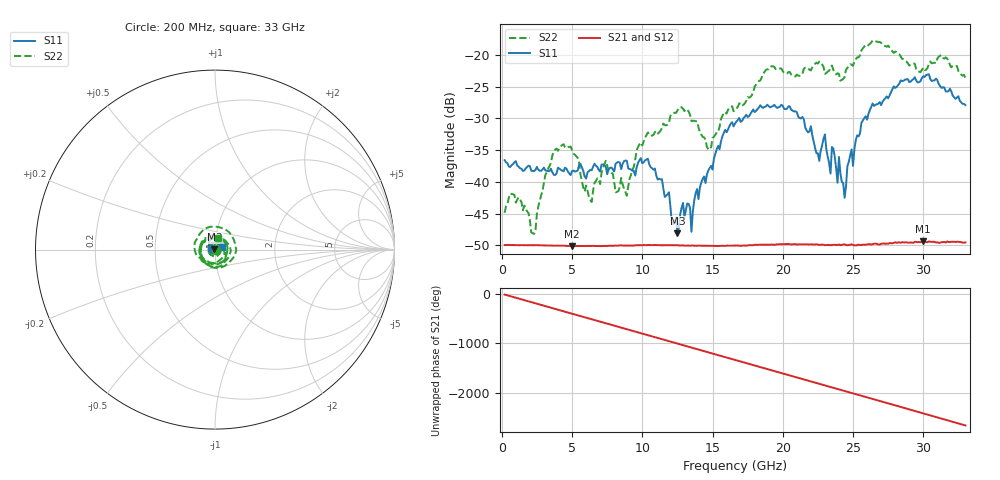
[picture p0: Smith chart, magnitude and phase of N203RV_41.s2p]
# GHZ S RI R 50
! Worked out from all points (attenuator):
!   329 points, 200 MHz to 33 GHz, reference 50 ohm
!   highest |S21| = -49.35 dB at 30 GHz (marker M1); lowest = -50.1 dB at 5 GHz (marker M2)
!   lowest |S11| = -48.1 dB at 12.5 GHz (marker M3), VSWR 1.01, Z = 49.7 + j0.244 ohm
!   |S11| at or under -10 dB: start of sweep to end of sweep
!   |S22| runs from -48.2 to -17.7 dB; largest |S21 - S12| = 7.2e-05
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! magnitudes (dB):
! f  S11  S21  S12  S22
! 200 MHz  -36.6  -50.0  -49.9  -44.9
! 2.3 GHz  -38.3  -50.0  -50.0  -48.2
! 3.7 GHz  -38.9  -50.0  -50.0  -35.3
! 5 GHz  -38.3  -50.1  -50.1  -35.0
! 5.7 GHz  -37.7  -50.1  -50.1  -39.9
! 6.4 GHz  -38.2  -50.1  -50.1  -43.2
! 7.4 GHz  -37.6  -50.1  -50.1  -36.7
! 8.9 GHz  -36.7  -50.0  -50.0  -42.2
! 11.2 GHz  -39.5  -50.0  -50.0  -32.2
! 12.5 GHz  -48.1  -50.0  -50.0  -28.8
! 12.9 GHz  -43.3  -50.0  -50.0  -28.5
! 13.5 GHz  -47.9  -50.1  -50.0  -30.4
! 14.7 GHz  -38.2  -50.1  -50.1  -34.9
! 16.6 GHz  -30.8  -50.0  -50.0  -28.7
! 22.1 GHz  -32.6  -49.9  -49.8  -21.9
! 23.9 GHz  -40.1  -50.0  -49.9  -22.9
! 24 GHz  -36.1  -49.9  -49.9  -23.0
! 24.4 GHz  -42.5  -49.9  -49.8  -23.5
! 25.6 GHz  -30.7  -50.0  -49.8  -19.3
! 27.6 GHz  -26.4  -49.6  -49.7  -18.8
! 30 GHz  -23.4  -49.4  -49.4  -22.0
! 33 GHz  -27.9  -49.5  -49.6  -23.7
